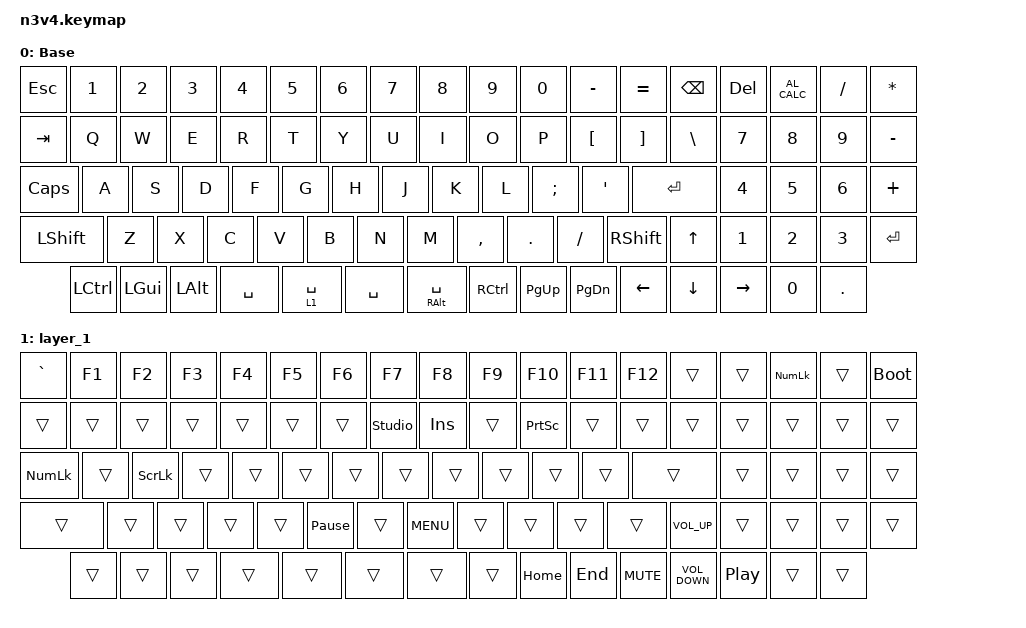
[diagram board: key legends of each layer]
#include <behaviors.dtsi>
#include <dt-bindings/zmk/keys.h>

/ {
    keymap {
        compatible = "zmk,keymap";

        default_layer {
            display-name = "Base";
            bindings = <
&kp ESCAPE  &kp NUMBER_1  &kp NUMBER_2  &kp NUMBER_3  &kp N4     &kp N5       &kp N6     &kp N7          &kp N8     &kp N9     &kp N0     &kp MINUS  &kp EQUAL  &kp BSPC  &kp DEL    &kp C_AL_CALC     &kp FSLH  &kp STAR
&kp TAB     &kp Q         &kp W         &kp E         &kp R      &kp T        &kp Y      &kp U           &kp I      &kp O      &kp P      &kp LBKT   &kp RBKT   &kp BSLH  &kp N7     &kp N8            &kp N9    &kp MINUS
&kp CAPS    &kp A         &kp S         &kp D         &kp F      &kp G        &kp H      &kp J           &kp K      &kp L      &kp SEMI   &kp SQT    &kp RET              &kp N4     &kp N5            &kp N6    &kp PLUS
&kp LSHFT   &kp Z         &kp X         &kp C         &kp V      &kp B        &kp N      &kp M           &kp COMMA  &kp DOT    &kp FSLH   &kp RSHFT             &kp UP    &kp N1     &kp N2            &kp N3    &kp RET
            &kp LCTRL     &kp LGUI      &kp LALT      &kp SPACE  &lt 1 SPACE  &kp SPACE  &mt RALT SPACE             &kp RCTRL  &kp PG_UP  &kp PG_DN  &kp LEFT   &kp DOWN  &kp RIGHT  &kp N0            &kp DOT
            >;
        };

        layer_1 {
            bindings = <
&kp GRAVE       &kp F1  &kp F2          &kp F3  &kp F4  &kp F5           &kp F6  &kp F7      &kp F8      &kp F9  &kp F10          &kp F11  &kp F12     &trans             &trans            &kp KP_NUMLOCK  &trans  &bootloader
&trans          &trans  &trans          &trans  &trans  &trans           &trans  &studio_unlock      &kp INSERT  &trans  &kp PRINTSCREEN  &trans   &trans      &trans             &trans            &trans          &trans  &trans
&kp KP_NUMLOCK  &trans  &kp SCROLLLOCK  &trans  &trans  &trans           &trans  &trans      &trans      &trans  &trans           &trans   &trans                         &trans            &trans          &trans  &trans
&trans          &trans  &trans          &trans  &trans  &kp PAUSE_BREAK  &trans  &kp K_MENU  &trans      &trans  &trans           &trans               &kp C_VOLUME_UP    &trans            &trans          &trans  &trans
                &trans  &trans          &trans  &trans  &trans           &trans  &trans                  &trans  &kp HOME         &kp END  &kp K_MUTE  &kp C_VOLUME_DOWN  &kp C_PLAY_PAUSE  &trans          &trans
            >;
        };
    };
};
